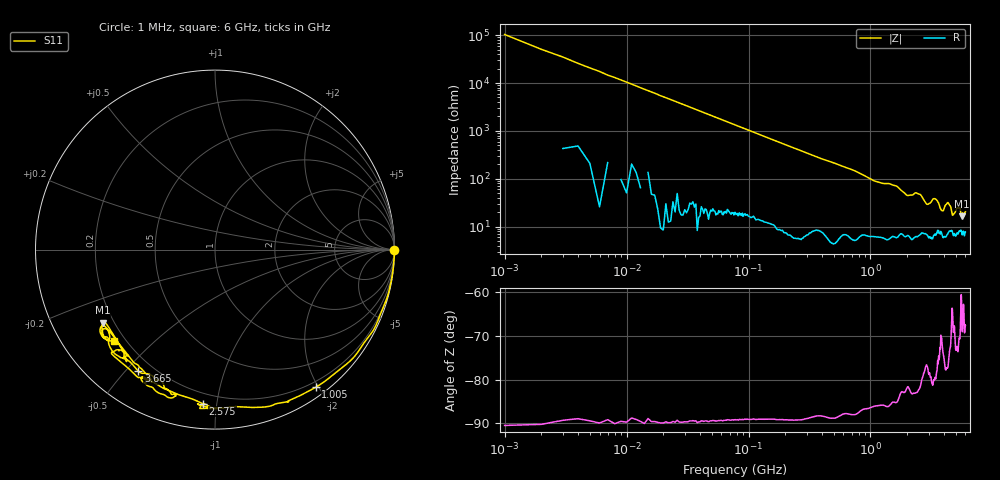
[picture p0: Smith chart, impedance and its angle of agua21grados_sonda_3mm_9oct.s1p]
! COPPER MOUNTAIN TECHNOLOGIES, R60, 23103002, 24.3.3/3.0
! Date: 9/10/2026 12:12:31
! Data: Format [Calibration Info]
! Frequency		S11: Mag/Ang RO
# HZ S MA R 50
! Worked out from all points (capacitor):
!   1280 points, 1 MHz to 6 GHz, reference 50 ohm
!   read as one part to ground: C = 1.53 pF near 7 MHz
!   lowest |Z| = 16.5 ohm at 5.575 GHz (marker M1)
!   S11 on the Smith chart (normalised r, x): 1 MHz: open; 1.005 GHz: 0.12, -1.97; 2.575 GHz: 0.14, -0.92; 3.665 GHz: 0.14, -0.54; 6 GHz: 0.16, -0.38
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1000000  1 -0.1
2.85e8  0.9955 -15.6
7.55e8  0.9778 -38.3
1.005e9  0.9504 -53.7
1.505e9  0.9261 -67.5
1.65e9  0.922 -71.6
1.99e9  0.8683 -95.9
2.255e9  0.8856 -93.0
2.36e9  0.8846 -88.9
2.575e9  0.8607 -94.4
2.855e9  0.8137 -117.7
3.005e9  0.8406 -118.3
3.35e9  0.8421 -104.9
3.535e9  0.8024 -111.0
3.665e9  0.8001 -122.2
3.755e9  0.7794 -130.5
3.945e9  0.8175 -134.6
4.105e9  0.8291 -122.0
4.285e9  0.817 -115.8
4.505e9  0.7733 -124.2
4.695e9  0.755 -144.3
5.045e9  0.8 -131.9
5.255e9  0.7845 -129.5
5.41e9  0.765 -130.4
5.575e9  0.7476 -146.9
5.67e9  0.784 -140.2
5.81e9  0.7546 -145.8
6e9  0.7606 -137.8
